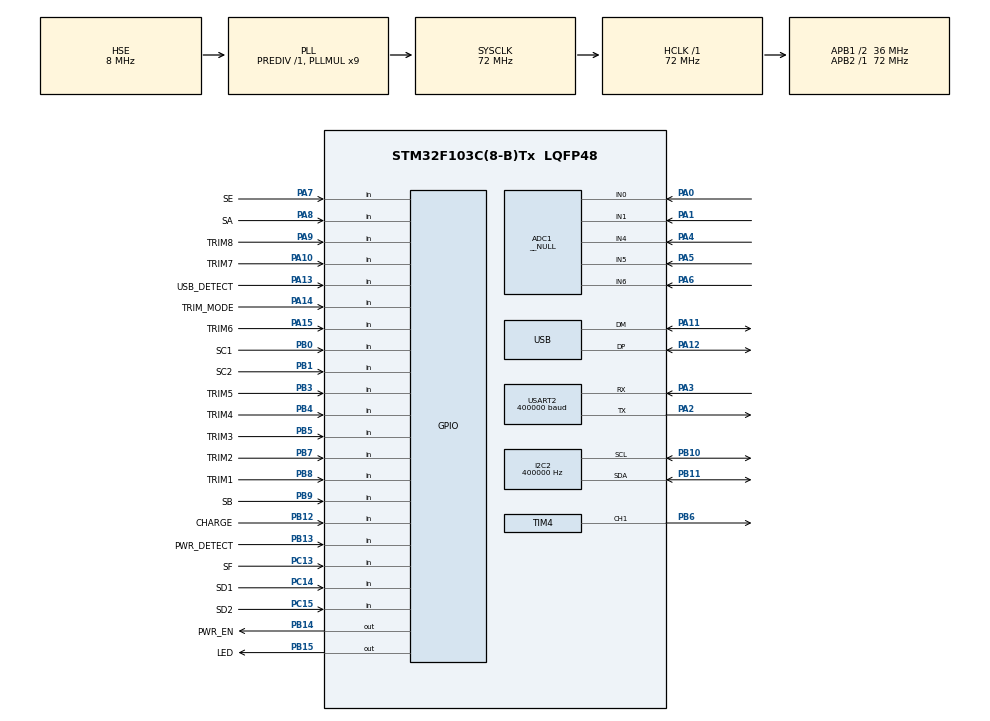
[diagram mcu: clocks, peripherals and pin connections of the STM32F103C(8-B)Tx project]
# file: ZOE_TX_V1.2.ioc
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ADC1.Channel-1\#ChannelRegularConversion=ADC_CHANNEL_0
ADC1.Channel-2\#ChannelRegularConversion=ADC_CHANNEL_1
ADC1.Channel-3\#ChannelRegularConversion=ADC_CHANNEL_4
ADC1.Channel-4\#ChannelRegularConversion=ADC_CHANNEL_5
ADC1.Channel-5\#ChannelRegularConversion=ADC_CHANNEL_6
ADC1.Channel-IN0=ADC_CHANNEL_0
ADC1.Channel-IN1=ADC_CHANNEL_1
ADC1.Channel-IN4=ADC_CHANNEL_4
ADC1.Channel-IN5=ADC_CHANNEL_5
ADC1.Channel-IN6=ADC_CHANNEL_6
ADC1.ContinuousConvMode=ENABLE
ADC1.DataAlign=ADC_DATAALIGN_RIGHT
ADC1.DiscontinuousConvMode=DISABLE
ADC1.EnableAnalogWatchDog=false
ADC1.EnableInjectedConversion=DISABLE
ADC1.EnableRegularConversion=ENABLE
ADC1.ExternalTrigConv=ADC_SOFTWARE_START
ADC1.Mode=__NULL
ADC1.NbrOfConversion=5
ADC1.Rank-1\#ChannelRegularConversion=1
ADC1.Rank-2\#ChannelRegularConversion=2
ADC1.Rank-3\#ChannelRegularConversion=3
ADC1.Rank-4\#ChannelRegularConversion=4
ADC1.Rank-5\#ChannelRegularConversion=5
ADC1.SamplingTime-1\#ChannelRegularConversion=ADC_SAMPLETIME_55CYCLES_5
ADC1.SamplingTime-2\#ChannelRegularConversion=ADC_SAMPLETIME_55CYCLES_5
ADC1.SamplingTime-3\#ChannelRegularConversion=ADC_SAMPLETIME_55CYCLES_5
ADC1.SamplingTime-4\#ChannelRegularConversion=ADC_SAMPLETIME_55CYCLES_5
ADC1.SamplingTime-5\#ChannelRegularConversion=ADC_SAMPLETIME_55CYCLES_5
ADC1.ScanConvMode=ADC_SCAN_ENABLE
ADC1.master=1
Dma.ADC1.2.Direction=DMA_PERIPH_TO_MEMORY
Dma.ADC1.2.Instance=DMA1_Channel1
Dma.ADC1.2.MemDataAlignment=DMA_MDATAALIGN_HALFWORD
Dma.ADC1.2.MemInc=DMA_MINC_ENABLE
Dma.ADC1.2.Mode=DMA_CIRCULAR
Dma.ADC1.2.PeriphDataAlignment=DMA_PDATAALIGN_HALFWORD
Dma.ADC1.2.PeriphInc=DMA_PINC_DISABLE
Dma.ADC1.2.Priority=DMA_PRIORITY_LOW
Dma.I2C2_RX.3.Direction=DMA_PERIPH_TO_MEMORY
Dma.I2C2_RX.3.Instance=DMA1_Channel5
Dma.I2C2_RX.3.MemDataAlignment=DMA_MDATAALIGN_BYTE
Dma.I2C2_RX.3.MemInc=DMA_MINC_ENABLE
Dma.I2C2_RX.3.Mode=DMA_NORMAL
Dma.I2C2_RX.3.PeriphDataAlignment=DMA_PDATAALIGN_BYTE
Dma.I2C2_RX.3.PeriphInc=DMA_PINC_DISABLE
Dma.I2C2_RX.3.Priority=DMA_PRIORITY_LOW
Dma.I2C2_TX.4.Direction=DMA_MEMORY_TO_PERIPH
Dma.I2C2_TX.4.Instance=DMA1_Channel4
Dma.I2C2_TX.4.MemDataAlignment=DMA_MDATAALIGN_BYTE
Dma.I2C2_TX.4.MemInc=DMA_MINC_ENABLE
Dma.I2C2_TX.4.Mode=DMA_NORMAL
Dma.I2C2_TX.4.PeriphDataAlignment=DMA_PDATAALIGN_BYTE
Dma.I2C2_TX.4.PeriphInc=DMA_PINC_DISABLE
Dma.I2C2_TX.4.Priority=DMA_PRIORITY_LOW
Dma.Request0=USART2_TX
Dma.Request1=USART2_RX
Dma.Request2=ADC1
Dma.Request3=I2C2_RX
Dma.Request4=I2C2_TX
Dma.USART2_RX.1.Direction=DMA_PERIPH_TO_MEMORY
Dma.USART2_RX.1.Instance=DMA1_Channel6
Dma.USART2_RX.1.MemDataAlignment=DMA_MDATAALIGN_BYTE
Dma.USART2_RX.1.MemInc=DMA_MINC_ENABLE
Dma.USART2_RX.1.Mode=DMA_CIRCULAR
Dma.USART2_RX.1.PeriphDataAlignment=DMA_PDATAALIGN_BYTE
Dma.USART2_RX.1.PeriphInc=DMA_PINC_DISABLE
Dma.USART2_RX.1.Priority=DMA_PRIORITY_LOW
Dma.USART2_TX.0.Direction=DMA_MEMORY_TO_PERIPH
Dma.USART2_TX.0.Instance=DMA1_Channel7
Dma.USART2_TX.0.MemDataAlignment=DMA_MDATAALIGN_BYTE
Dma.USART2_TX.0.MemInc=DMA_MINC_ENABLE
Dma.USART2_TX.0.Mode=DMA_NORMAL
Dma.USART2_TX.0.PeriphDataAlignment=DMA_PDATAALIGN_BYTE
Dma.USART2_TX.0.PeriphInc=DMA_PINC_DISABLE
Dma.USART2_TX.0.Priority=DMA_PRIORITY_LOW
I2C2.AddressingMode=I2C_ADDRESSINGMODE_7BIT
I2C2.ClockSpeed=400000
I2C2.DualAddressMode=I2C_DUALADDRESS_DISABLE
I2C2.DutyCycle=I2C_DUTYCYCLE_2
I2C2.GeneralCallMode=I2C_GENERALCALL_DISABLE
I2C2.I2C_Mode=I2C_Fast
I2C2.NoStretchMode=I2C_NOSTRETCH_DISABLE
I2C2.OwnAddress=0
Mcu.Family=STM32F1
Mcu.Name=STM32F103C(8-B)Tx
Mcu.Package=LQFP48
NVIC.DMA1_Channel1_IRQn=true\:2\:0\:false\:false\:true\:false\:true\:true
NVIC.DMA1_Channel4_IRQn=true\:1\:0\:false\:false\:true\:false\:true\:true
NVIC.DMA1_Channel5_IRQn=true\:1\:0\:false\:false\:true\:false\:true\:true
NVIC.DMA1_Channel6_IRQn=true\:0\:0\:false\:false\:true\:false\:true\:true
NVIC.DMA1_Channel7_IRQn=true\:0\:0\:false\:false\:true\:false\:true\:true
NVIC.I2C2_EV_IRQn=true\:1\:0\:false\:false\:true\:true\:true\:true
NVIC.PriorityGroup=NVIC_PRIORITYGROUP_4
NVIC.TIM1_UP_IRQn=true\:0\:0\:false\:false\:true\:false\:true\:true
NVIC.TIM4_IRQn=true\:1\:0\:true\:false\:true\:true\:true\:true
NVIC.USART2_IRQn=true\:0\:0\:false\:false\:true\:false\:true\:true
PA0-WKUP.Signal=ADCx_IN0
PA1.Signal=ADCx_IN1
PA10.GPIO_Label=TRIM7
PA10.GPIO_PuPd=GPIO_PULLUP
PA10.Signal=GPIO_Input
PA11.Mode=Device
PA11.Signal=USB_DM
PA12.Mode=Device
PA12.Signal=USB_DP
PA13.GPIO_Label=USB_DETECT
PA13.GPIO_PuPd=GPIO_PULLDOWN
PA13.Signal=GPIO_Input
PA14.GPIO_Label=TRIM_MODE
PA14.GPIO_PuPd=GPIO_PULLUP
PA14.Signal=GPIO_Input
PA15.GPIO_Label=TRIM6
PA15.GPIO_PuPd=GPIO_PULLUP
PA15.Signal=GPIO_Input
PA2.Mode=Asynchronous
PA2.Signal=USART2_TX
PA3.Mode=Asynchronous
PA3.Signal=USART2_RX
PA4.Signal=ADCx_IN4
PA5.Signal=ADCx_IN5
PA6.Signal=ADCx_IN6
PA7.GPIO_Label=SE
PA7.GPIO_PuPd=GPIO_PULLUP
PA7.Signal=GPIO_Input
PA8.GPIO_Label=SA
PA8.GPIO_PuPd=GPIO_PULLUP
PA8.Signal=GPIO_Input
PA9.GPIO_Label=TRIM8
PA9.GPIO_PuPd=GPIO_PULLUP
PA9.Signal=GPIO_Input
PB0.GPIO_Label=SC1
PB0.GPIO_PuPd=GPIO_PULLUP
PB0.Signal=GPIO_Input
PB1.GPIO_Label=SC2
PB1.GPIO_PuPd=GPIO_PULLUP
PB1.Signal=GPIO_Input
PB10.Mode=I2C
PB10.Signal=I2C2_SCL
PB11.Mode=I2C
PB11.Signal=I2C2_SDA
PB12.GPIO_Label=CHARGE
PB12.GPIO_PuPd=GPIO_PULLUP
PB12.Signal=GPIO_Input
PB13.GPIO_Label=PWR_DETECT
PB13.GPIO_PuPd=GPIO_PULLDOWN
PB13.Signal=GPIO_Input
PB14.GPIO_Label=PWR_EN
PB14.GPIO_PuPd=GPIO_PULLDOWN
PB14.Signal=GPIO_Output
PB15.GPIO_Label=LED
PB15.GPIO_ModeDefaultOutputPP=GPIO_MODE_OUTPUT_OD
PB15.GPIO_PuPd=GPIO_PULLUP
PB15.Signal=GPIO_Output
PB3.GPIO_Label=TRIM5
PB3.GPIO_PuPd=GPIO_PULLUP
PB3.Signal=GPIO_Input
PB4.GPIO_Label=TRIM4
PB4.GPIO_PuPd=GPIO_PULLUP
PB4.Signal=GPIO_Input
PB5.GPIO_Label=TRIM3
PB5.GPIO_PuPd=GPIO_PULLUP
PB5.Signal=GPIO_Input
PB6.Signal=S_TIM4_CH1
PB7.GPIO_Label=TRIM2
PB7.GPIO_PuPd=GPIO_PULLUP
PB7.Signal=GPIO_Input
PB8.GPIO_Label=TRIM1
PB8.GPIO_PuPd=GPIO_PULLUP
PB8.Signal=GPIO_Input
PB9.GPIO_Label=SB
PB9.GPIO_PuPd=GPIO_PULLUP
PB9.Signal=GPIO_Input
PC13-TAMPER-RTC.GPIO_Label=SF
PC13-TAMPER-RTC.GPIO_PuPd=GPIO_PULLUP
PC13-TAMPER-RTC.Signal=GPIO_Input
PC14-OSC32_IN.GPIO_Label=SD1
PC14-OSC32_IN.GPIO_PuPd=GPIO_PULLUP
PC14-OSC32_IN.Signal=GPIO_Input
PC15-OSC32_OUT.GPIO_Label=SD2
PC15-OSC32_OUT.GPIO_PuPd=GPIO_PULLUP
PC15-OSC32_OUT.Signal=GPIO_Input
PD0-OSC_IN.Mode=HSE-External-Oscillator
PD0-OSC_IN.Signal=RCC_OSC_IN
PD1-OSC_OUT.Mode=HSE-External-Oscillator
PD1-OSC_OUT.Signal=RCC_OSC_OUT
ProjectManager.HeapSize=0x200
ProjectManager.StackSize=0x400
ProjectManager.TargetToolchain=CMake
RCC.ADCPresc=RCC_ADCPCLK2_DIV6
RCC.AHBFreq_Value=72000000
RCC.APB1CLKDivider=RCC_HCLK_DIV2
RCC.APB1Freq_Value=36000000
RCC.APB1TimFreq_Value=72000000
RCC.APB2Freq_Value=72000000
RCC.APB2TimFreq_Value=72000000
RCC.FLatency=FLASH_LATENCY_2
RCC.HCLKFreq_Value=72000000
RCC.PLLMUL=RCC_PLL_MUL9
RCC.SYSCLKFreq_VALUE=72000000
RCC.SYSCLKSource=RCC_SYSCLKSOURCE_PLLCLK
RCC.USBFreq_Value=48000000
RCC.USBPrescaler=RCC_USBCLKSOURCE_PLL_DIV1_5
SH.ADCx_IN0.0=ADC1_IN0,IN0
SH.ADCx_IN1.0=ADC1_IN1,IN1
SH.ADCx_IN4.0=ADC1_IN4,IN4
SH.ADCx_IN5.0=ADC1_IN5,IN5
SH.ADCx_IN6.0=ADC1_IN6,IN6
SH.S_TIM4_CH1.0=TIM4_CH1,Output Compare1 CH1
TIM1.AutoReloadPreload=TIM_AUTORELOAD_PRELOAD_ENABLE
TIM1.ClockDivision=TIM_CLOCKDIVISION_DIV1
TIM1.CounterMode=TIM_COUNTERMODE_UP
TIM1.Period=3999
TIM1.Prescaler=71
TIM1.RepetitionCounter=0
TIM1.TIM_MasterOutputTrigger=TIM_TRGO_RESET
TIM1.TIM_MasterSlaveMode=TIM_MASTERSLAVEMODE_DISABLE
TIM2.AutoReloadPreload=TIM_AUTORELOAD_PRELOAD_DISABLE
TIM2.ClockDivision=TIM_CLOCKDIVISION_DIV1
TIM2.CounterMode=TIM_COUNTERMODE_UP
TIM2.Period=899
TIM2.Prescaler=7199
TIM2.TIM_MasterOutputTrigger=TIM_TRGO_RESET
TIM2.TIM_MasterSlaveMode=TIM_MASTERSLAVEMODE_DISABLE
TIM4.AutoReloadPreload=TIM_AUTORELOAD_PRELOAD_DISABLE
TIM4.Channel-Output\ Compare1\ CH1=TIM_CHANNEL_1
TIM4.ClockDivision=TIM_CLOCKDIVISION_DIV1
TIM4.CounterMode=TIM_COUNTERMODE_UP
TIM4.OC1Preload=DISABLE
TIM4.OCMode_1=TIM_OCMODE_TOGGLE
TIM4.OCPolarity_1=TIM_OCPOLARITY_HIGH
TIM4.Period=65535
TIM4.Prescaler=71
TIM4.Pulse-Output\ Compare1\ CH1=400
TIM4.TIM_MasterOutputTrigger=TIM_TRGO_RESET
TIM4.TIM_MasterSlaveMode=TIM_MASTERSLAVEMODE_DISABLE
USART2.BaudRate=400000
USART2.Mode=MODE_TX_RX
USART2.Parity=PARITY_NONE
USART2.StopBits=STOPBITS_1
USART2.VirtualMode=VM_ASYNC
USART2.WordLength=WORDLENGTH_8B
USB.DeviceSpeed=PCD_SPEED_FULL
USB.battery_charging_enable=DISABLE
USB.low_power_enable=DISABLE
USB.lpm_enable=DISABLE
VP_SYS_VS_ND.Mode=No_Debug
VP_TIM1_VS_ClockSourceINT.Mode=Internal
VP_TIM2_VS_ClockSourceINT.Mode=Internal
VP_TIM4_VS_ClockSourceINT.Mode=Internal
board=custom

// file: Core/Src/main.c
/* USER CODE BEGIN Header */
/**
  ******************************************************************************
  * @file           : main.c
  * @brief          : Main program body
  ******************************************************************************
  * @attention
  *
  * Copyright (c) 2026 STMicroelectronics.
  * All rights reserved.
  *
  * This software is licensed under terms that can be found in the LICENSE file
  * in the root directory of this software component.
  * If no LICENSE file comes with this software, it is provided AS-IS.
  *
  ******************************************************************************
  */
/* USER CODE END Header */
#include "main.h"
#include "adc.h"
#include "dma.h"
#include "i2c.h"
#include "tim.h"
#include "usart.h"
#include "usb.h"
#include "gpio.h"

/* USER CODE BEGIN Includes */
#include "Schedule.h"
#include "oled.h"
#include "font.h"
#include "Crsf.h"
#include "Store.h"
#include "Func.h"
#include "Ppm.h"
#include "UsbHid.h"
/* USER CODE END Includes */

void SystemClock_Config(void);

int main(void)
{

  /* MCU Configuration--------------------------------------------------------*/

  /* Reset of all peripherals, Initializes the Flash interface and the Systick. */
  HAL_Init();

  /* Configure the system clock */
  SystemClock_Config();

  /* Initialize all configured peripherals */
  MX_GPIO_Init();
  MX_DMA_Init();
  MX_ADC1_Init();
  MX_I2C2_Init();
  MX_TIM1_Init();
  MX_USART2_UART_Init();
  MX_TIM2_Init();
  MX_USB_PCD_Init();
  MX_TIM4_Init();
  /* USER CODE BEGIN 2 */
  /* 启动 USB HID 摇杆(需在 MX_USB_PCD_Init 之后) */
  USB_HID_Init();
  /* 读取上次保存的摇杆校准参数(无有效数据则保持默认值) */
  Store_LoadCalib();
  Adc_CalibCheck();
  Mix_LoadForModel(model_cur);   /* 只把当前模型的混控读进 RAM */
  HAL_ADCEx_Calibration_Start(&hadc1);
  HAL_ADC_Start_DMA(&hadc1, (uint32_t*)ADC_Values, 5);

  __HAL_DMA_DISABLE_IT(&hdma_adc1, DMA_IT_HT | DMA_IT_TC);
  HAL_NVIC_DisableIRQ(DMA1_Channel1_IRQn);
  /* OLED 内部上电复位(POR)比 STM32 启动慢: 先等 VCC 稳定再发初始化命令,
     否则初段命令会被 NACK 丢弃, 表现为"上电有概率整屏偏移/翻转 180 度" */
  HAL_Delay(100);
  OLED_Init();
  /* CRSF: 初始化收发缓冲并启动接收 DMA, 再由 TIM1(4ms) 提供 250Hz 发送节拍 */
  CRSF_Init();
  HAL_TIM_Base_Start_IT(&htim1);
  /* PPM: TIM4_CH1(PB6) 输出航模 PPM(1us 时基 + 输出比较翻转, 见 Ppm.c);
     TIM4 的时基(CH1 = Output Compare Toggle / PSC=71 / ARR=0xFFFF)已在 ZOE_TX_V1.2.ioc 里配好,
     由 MX_TIM4_Init() 生成, 这里只负责启动 */
  PPM_Init();
  /* USER CODE END 2 */

  /* Infinite loop */
  /* USER CODE BEGIN WHILE */
  while (1)
  {
    Schedule_Run();
    /* USER CODE END WHILE */

  }
}

void SystemClock_Config(void)
{
  RCC_OscInitTypeDef RCC_OscInitStruct = {0};
  RCC_ClkInitTypeDef RCC_ClkInitStruct = {0};
  RCC_PeriphCLKInitTypeDef PeriphClkInit = {0};

  /** Initializes the RCC Oscillators according to the specified parameters
  * in the RCC_OscInitTypeDef structure.
  */
  RCC_OscInitStruct.OscillatorType = RCC_OSCILLATORTYPE_HSE;
  RCC_OscInitStruct.HSEState = RCC_HSE_ON;
  RCC_OscInitStruct.HSEPredivValue = RCC_HSE_PREDIV_DIV1;
  RCC_OscInitStruct.HSIState = RCC_HSI_ON;
  RCC_OscInitStruct.PLL.PLLState = RCC_PLL_ON;
  RCC_OscInitStruct.PLL.PLLSource = RCC_PLLSOURCE_HSE;
  RCC_OscInitStruct.PLL.PLLMUL = RCC_PLL_MUL9;
  if (HAL_RCC_OscConfig(&RCC_OscInitStruct) != HAL_OK)
  {
    Error_Handler();
  }

  /** Initializes the CPU, AHB and APB buses clocks
  */
  RCC_ClkInitStruct.ClockType = RCC_CLOCKTYPE_HCLK|RCC_CLOCKTYPE_SYSCLK
                              |RCC_CLOCKTYPE_PCLK1|RCC_CLOCKTYPE_PCLK2;
  RCC_ClkInitStruct.SYSCLKSource = RCC_SYSCLKSOURCE_PLLCLK;
  RCC_ClkInitStruct.AHBCLKDivider = RCC_SYSCLK_DIV1;
  RCC_ClkInitStruct.APB1CLKDivider = RCC_HCLK_DIV2;
  RCC_ClkInitStruct.APB2CLKDivider = RCC_HCLK_DIV1;

  if (HAL_RCC_ClockConfig(&RCC_ClkInitStruct, FLASH_LATENCY_2) != HAL_OK)
  {
    Error_Handler();
  }
  PeriphClkInit.PeriphClockSelection = RCC_PERIPHCLK_ADC|RCC_PERIPHCLK_USB;
  PeriphClkInit.AdcClockSelection = RCC_ADCPCLK2_DIV6;
  PeriphClkInit.UsbClockSelection = RCC_USBCLKSOURCE_PLL_DIV1_5;
  if (HAL_RCCEx_PeriphCLKConfig(&PeriphClkInit) != HAL_OK)
  {
    Error_Handler();
  }
}

void Error_Handler(void)
{
  __disable_irq();
  while (1)
  {
  }
}
